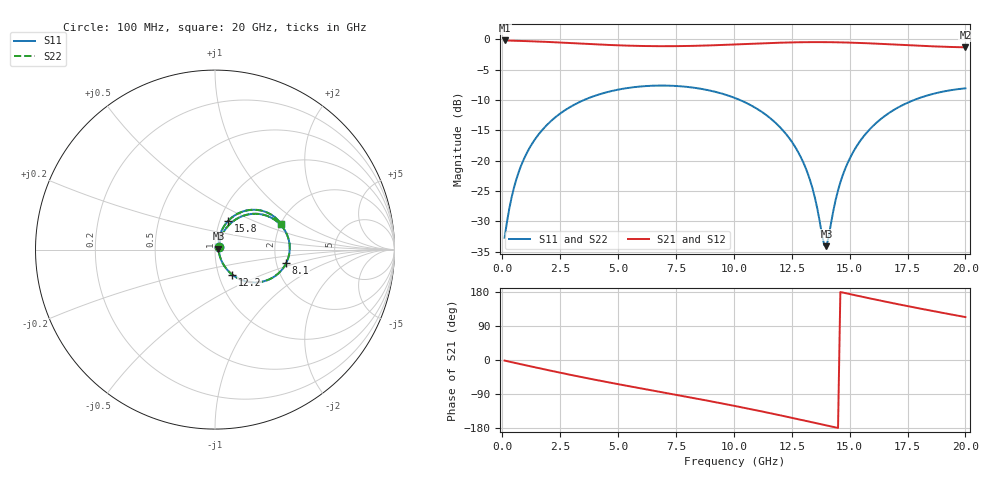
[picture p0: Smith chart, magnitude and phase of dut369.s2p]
! Touchstone file exported from HFSS 2026.1.0
!  File:  C:/ffzhzh/LocalFiles/Ansys_Project_Files/temp_train_TSV_RDL_369_1783040247_53980.aedt
!  Generated:  09:10:19 AM Jul  3, 2026
!  Design:  TSV_RDL
!  Project:  temp_train_TSV_RDL_369_1783040247_53980
! Variables:
!  h_bsmrdl = 3.22um
!  h_ox = 20um
!  h_rdl = 5um
!  h_sub = 63.14um
!  h_tmrdl = 3.79um
!  h_tsv = 63.14um
!  h_via = 3um
!  l_bsmrdl = 746.37um
!  l_sub = 4250.73um
!  l_tmrdl = 371.99um
!  m_sub = 200um
!  pitch = 38.77um
!  r_tsv = 8.03um
!  s_tmrdl = 10um
!  w_bsmrdl = 24.68um
!  w_sub = 500um
!  w_tmrdl = 16.54um
!  x_tsv_center1 = 380.26um
!  x_tsv_center2 = 1151.31um
!  x_tsv_center3 = 1539.84um
!  x_tsv_center4 = 2310.89um
!  x_tsv_center5 = 2699.42um
!  x_tsv_center6 = 3470.47um
# GHz S MA R 50.000000
! Terminal data exported
! Port[1] = TM_RDL1_1_T1
! Port[2] = TM_RDL5_1_T1
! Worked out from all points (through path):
!   200 points, 100 MHz to 20 GHz, reference 50 ohm
!   highest |S21| = -0.17 dB at 100 MHz (marker M1); lowest = -1.3 dB at 20 GHz (marker M2)
!   group delay of S21, straight-line fit = 34.1 ps
!   lowest |S11| = -34.1 dB at 14 GHz (marker M3), VSWR 1.04, Z = 51.9 + j0.592 ohm
!   |S11| at or under -10 dB: start of sweep to 3.522 GHz; 10.27 GHz to 17.77 GHz (7.503 GHz wide, 53.5 % of centre)
!   |S22| runs from -33.9 to -7.6 dB; largest |S21 - S12| = 2.7e-14
!   S11 on the Smith chart (normalised r, x): 100 MHz: 1.04, +0.02; 8.1 GHz: 2.27, -0.41; 12.2 GHz: 1.16, -0.34; 15.8 GHz: 1.10, +0.36; 20 GHz: 2.02, +0.67
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0.1  0.02326 30.4  0.9802 -1.5  0.9802 -1.5  0.02326 30.4
! Gamma 0 0 0 0
! Port Impedance 50 0 50 0
0.5  0.05961 61.4  0.9748 -7.1  0.9748 -7.1  0.05959 61.4
1.2  0.1298 62.7  0.9658 -16.5  0.9658 -16.5  0.1299 62.7
2.2  0.2207 53.4  0.9486 -29.7  0.9486 -29.7  0.2207 53.4
3.5  0.3149 39.1  0.9214 -46.0  0.9214 -46.0  0.3149 39.1
5.1  0.3888 21.4  0.8926 -64.9  0.8926 -64.9  0.3888 21.4
6.8  0.4166 3.2  0.8792 -84.0  0.8792 -84.0  0.4166 3.2
8.1  0.4039 -10.7  0.8834 -98.6  0.8834 -98.6  0.4039 -10.7
10.1  0.3262 -32.6  0.9094 -122.0  0.9094 -122.0  0.3262 -32.6
11.3  0.2459 -46.0  0.9293 -136.9  0.9293 -136.9  0.2459 -45.9
12.2  0.1709 -55.3  0.9417 -148.6  0.9417 -148.6  0.171 -55.2
12.9  0.1064 -60.3  0.948 -157.8  0.948 -157.8  0.1064 -60.2
13.4  0.05899 -58.1  0.95 -164.5  0.95 -164.5  0.05908 -57.9
13.9  0.02025 -10.8  0.9496 -171.3  0.9496 -171.3  0.02055 -10.5
14  0.01979 16.7  0.9493 -172.6  0.9493 -172.6  0.02011 16.6
14.4  0.0479 65.8  0.947 -178.0  0.947 -178.0  0.04805 65.4
14.7  0.07572 70.9  0.9444 178.0  0.9444 178.0  0.07582 70.7
15.2  0.1224 70.2  0.9384 171.4  0.9384 171.4  0.1224 70.1
15.8  0.1758 65.4  0.929 163.5  0.929 163.5  0.1759 65.3
16.7  0.2475 56.2  0.9121 152.1  0.9121 152.1  0.2475 56.1
18.3  0.3427 38.8  0.8816 132.7  0.8816 132.7  0.3427 38.8
20  0.3953 20.8  0.8606 113.3  0.8606 113.3  0.3953 20.8
